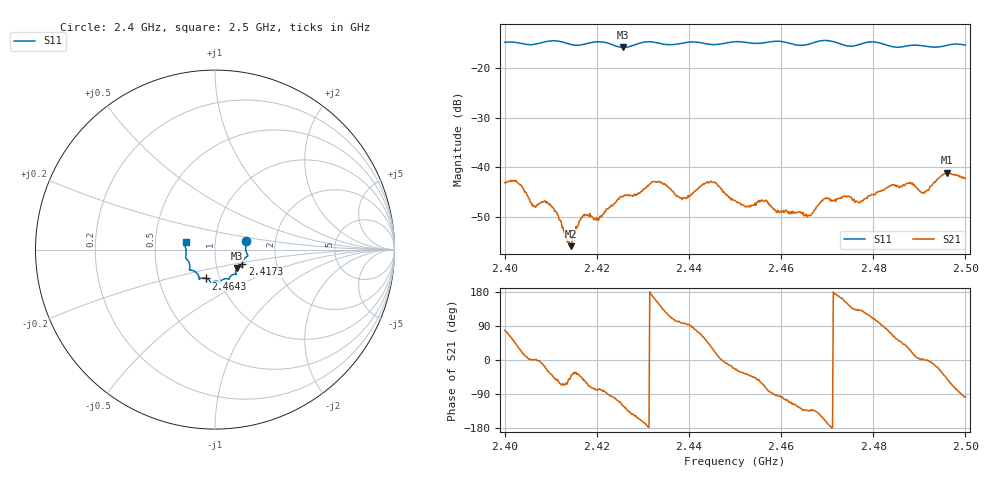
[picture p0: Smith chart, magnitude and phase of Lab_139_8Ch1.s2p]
# Hz S RI R 50
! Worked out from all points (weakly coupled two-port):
!   601 points, 2.4 GHz to 2.5 GHz, reference 50 ohm
!   highest |S21| = -41.09 dB at 2.496 GHz (marker M1); lowest = -55.9 dB at 2.4143 GHz (marker M2)
!   lowest |S11| = -15.9 dB at 2.4257 GHz (marker M3), VSWR 1.38, Z = 62.5 - j13.2 ohm
!   |S11| at or under -10 dB: start of sweep to end of sweep
!   S12 and S22 are empty: the file has one direction only
!   S11 on the Smith chart (normalised r, x): 2.4 GHz: 1.41, +0.14; 2.4173 GHz: 1.34, -0.23; 2.4643 GHz: 0.86, -0.28; 2.5 GHz: 0.72, +0.06
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2.4e9  0.1736 0.0486  0.00138 0.00687  0 0  0 0
2.403e9  0.1746 0.0341  0.00584 0.00368  0 0  0 0
2.4065e9  0.1719 -0.00465  0.00407 3.49e-05  0 0  0 0
2.409667e9  0.1826 -0.0323  0.00351 -0.00231  0 0  0 0
2.414333e9  0.1641 -0.0499  0.00112 -0.00115  0 0  0 0
2.416667e9  0.1529 -0.0747  0.0022 -0.00223  0 0  0 0
2.417333e9  0.1519 -0.0822  0.00193 -0.00276  0 0  0 0
2.420167e9  0.154 -0.098  0.000565 -0.00298  0 0  0 0
2.425667e9  0.1228 -0.1026  -0.00254 -0.00441  0 0  0 0
2.433333e9  0.1123 -0.1373  -0.00624 0.00356  0 0  0 0
2.439e9  0.0802 -0.1593  -0.000622 0.00487  0 0  0 0
2.445167e9  0.054 -0.1624  0.00609 0.00351  0 0  0 0
2.45e9  0.0284 -0.1809  0.00426 -0.00184  0 0  0 0
2.464333e9  -0.0498 -0.1606  -0.00211 -0.00275  0 0  0 0
2.466667e9  -0.0759 -0.1592  -0.00234 -0.00247  0 0  0 0
2.469667e9  -0.0885 -0.1661  -0.00462 -0.00156  0 0  0 0
2.477167e9  -0.1278 -0.1156  -0.0029 0.0033  0 0  0 0
2.483333e9  -0.1403 -0.0899  0.00156 0.00614  0 0  0 0
2.488e9  -0.1601 -0.0506  0.0062 0.00293  0 0  0 0
2.491e9  -0.1622 -0.0345  0.00549 -3.21e-06  0 0  0 0
2.496e9  -0.1666 0.0198  0.00569 -0.00674  0 0  0 0
2.5e9  -0.1634 0.0425  -0.00106 -0.00764  0 0  0 0
